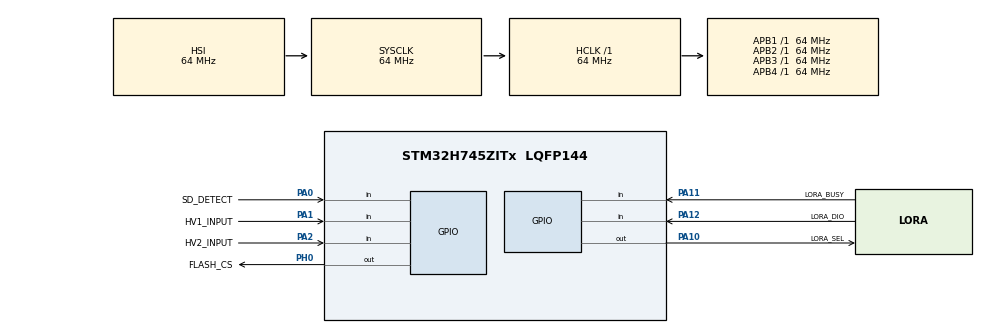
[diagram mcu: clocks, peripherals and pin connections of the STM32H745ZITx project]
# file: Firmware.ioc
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CORTEX_M7.default_mode_Activation=1
CortexM4.IPs=BDMA,CORTEX_M4\:I,DMA,FATFS_M4\:I,FREERTOS_M4\:I,GPIO,IWDG2\:I,MDMA,NVIC2\:I,OPENAMP_M4\:I,PDM2PCM_M4\:I,PWR,RCC,RESMGR_UTILITY,SYS_M4\:I,USB_DEVICE_M4\:I,USB_HOST_M4\:I,VREFBUF,WWDG2\:I,I2C1,DEBUG,SPI1
CortexM7.IPs=BDMA\:I,CORTEX_M7\:I,DMA\:I,FATFS_M7\:I,FREERTOS_M7\:I,GPIO\:I,IWDG1\:I,MDMA\:I,NVIC1\:I,OPENAMP_M7\:I,PDM2PCM_M7\:I,PWR\:I,RCC\:I,RESMGR_UTILITY\:I,SYS\:I,USB_DEVICE_M7\:I,USB_HOST_M7\:I,VREFBUF\:I,WWDG1\:I,I2C1\:I,DEBUG\:I,SPI1\:I
Mcu.Family=STM32H7
Mcu.Name=STM32H745ZITx
Mcu.Package=LQFP144
NVIC1.PriorityGroup=NVIC_PRIORITYGROUP_4
NVIC2.PriorityGroup=NVIC_PRIORITYGROUP_4
PA0.GPIO_Label=SD_DETECT
PA0.PinAttribute=Free
PA0.Signal=GPIO_Input
PA1.GPIO_Label=HV1_INPUT
PA1.PinAttribute=Free
PA1.Signal=GPIO_Input
PA10.GPIO_Label=LORA_SEL
PA10.PinAttribute=Free
PA10.Signal=GPIO_Output
PA11.GPIO_Label=LORA_BUSY
PA11.PinAttribute=Free
PA11.Signal=GPIO_Input
PA12.GPIO_Label=LORA_DIO
PA12.PinAttribute=Free
PA12.Signal=GPIO_Input
PA13\ (JTMS/SWDIO).PinAttribute=CortexM7
PA13\ (JTMS/SWDIO).Signal=DEBUG_JTMS-SWDIO
PA14\ (JTCK/SWCLK).PinAttribute=CortexM7
PA14\ (JTCK/SWCLK).Signal=DEBUG_JTCK-SWCLK
PA2.GPIO_Label=HV2_INPUT
PA2.PinAttribute=Free
PA2.Signal=GPIO_Input
PA5.Signal=SPI1_SCK
PA6.Signal=SPI1_MISO
PA7.Signal=SPI1_MOSI
PB13.Signal=USB_OTG_HS_VBUS
PB14.Signal=USB_OTG_HS_DM
PB15.Signal=USB_OTG_HS_DP
PB6.PinAttribute=CortexM7
PB6.Signal=I2C1_SCL
PB7.PinAttribute=CortexM7
PB7.Signal=I2C1_SDA
PC14-OSC32_IN\ (OSC32_IN).Mode=LSE-External-Oscillator
PC14-OSC32_IN\ (OSC32_IN).Signal=RCC_OSC32_IN
PC15-OSC32_OUT\ (OSC32_OUT).Mode=LSE-External-Oscillator
PC15-OSC32_OUT\ (OSC32_OUT).Signal=RCC_OSC32_OUT
PF10.Signal=QUADSPI_CLK
PF6.Signal=QUADSPI_BK1_IO3
PF7.Signal=QUADSPI_BK1_IO2
PF8.Signal=QUADSPI_BK1_IO0
PF9.Signal=QUADSPI_BK1_IO1
PH0-OSC_IN\ (PH0).GPIO_Label=FLASH_CS
PH0-OSC_IN\ (PH0).PinAttribute=Free
PH0-OSC_IN\ (PH0).Signal=GPIO_Output
ProjectManager.HeapSize=M4-0x200,M7-0x200
ProjectManager.StackSize=M4-0x400,M7-0x400
ProjectManager.TargetToolchain=STM32CubeIDE
RCC.ADCFreq_Value=129000000
RCC.APB1Freq_Value=64000000
RCC.APB2Freq_Value=64000000
RCC.APB3Freq_Value=64000000
RCC.APB4Freq_Value=64000000
RCC.CortexFreq_Value=64000000
RCC.HCLKFreq_Value=64000000
RCC.SYSCLKFreq_VALUE=64000000
RCC.USBFreq_Value=129000000
SYS.userName=SYS_M7
VP_SYS_M4_VS_Systick.Mode=SysTick
board=custom

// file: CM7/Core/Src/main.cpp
/* USER CODE BEGIN Header */
/**
 ******************************************************************************
 * @file           : main.c
 * @brief          : Main program body
 ******************************************************************************
 * @attention
 *
 * Copyright (c) 2024 STMicroelectronics.
 * All rights reserved.
 *
 * This software is licensed under terms that can be found in the LICENSE file
 * in the root directory of this software component.
 * If no LICENSE file comes with this software, it is provided AS-IS.
 *
 ******************************************************************************
 */
/* USER CODE END Header */
#include "main.h"

/* USER CODE BEGIN Includes */

#include "data.h"
#include "state_machine.h"

// Sensors

#include "sensors/accel_H3LIS100.h"
#include "sensors/accel_AIS3624.h"
#include "sensors/gyro_I3G4250.h"
#include "sensors/baro_MS5607.h"

/* USER CODE END Includes */

/* USER CODE BEGIN PD */

#ifndef HSEM_ID_0
#define HSEM_ID_0 (0U) /* HW semaphore 0*/
#endif

/* USER CODE END PD */

/* USER CODE BEGIN PV */

I2C_HandleTypeDef hi2c1;

Data data;
State_Machine state_machine(&data);

// Define sensors
Accel_H3LIS100 accel_h3lis100(&hi2c1, &data);
Accel_AIS3624 accel_ais3624(&hi2c1, &data);
Gyro_I3G4250 gyro_i3g4250(&hi2c1, &data);
Baro_MS5607 baro_ms5607(&hi2c1, &data);

/* USER CODE END PV */

void SystemClock_Config(void);
static void MPU_Config(void);
static void MX_GPIO_Init(void);

int main(void)
{

	/* USER CODE BEGIN Boot_Mode_Sequence_0 */
	int32_t timeout;
	/* USER CODE END Boot_Mode_Sequence_0 */

	/* MPU Configuration--------------------------------------------------------*/
	MPU_Config();

	/* USER CODE BEGIN Boot_Mode_Sequence_1 */
	/* Wait until CPU2 boots and enters in stop mode or timeout*/
	timeout = 0xFFFF;
	while ((__HAL_RCC_GET_FLAG(RCC_FLAG_D2CKRDY) != RESET) && (timeout-- > 0))
		;
	if (timeout < 0)
	{
		Error_Handler();
	}
	/* USER CODE END Boot_Mode_Sequence_1 */
	/* MCU Configuration--------------------------------------------------------*/

	/* Reset of all peripherals, Initializes the Flash interface and the Systick. */
	HAL_Init();

	/* Configure the system clock */
	SystemClock_Config();
	/* USER CODE BEGIN Boot_Mode_Sequence_2 */
	/* When system initialization is finished, Cortex-M7 will release Cortex-M4 by means of
	HSEM notification */
	/*HW semaphore Clock enable*/
	__HAL_RCC_HSEM_CLK_ENABLE();
	/*Take HSEM */
	HAL_HSEM_FastTake(HSEM_ID_0);
	/*Release HSEM in order to notify the CPU2(CM4)*/
	HAL_HSEM_Release(HSEM_ID_0, 0);
	/* wait until CPU2 wakes up from stop mode */
	timeout = 0xFFFF;
	while ((__HAL_RCC_GET_FLAG(RCC_FLAG_D2CKRDY) == RESET) && (timeout-- > 0))
		;
	if (timeout < 0)
	{
		Error_Handler();
	}
	/* USER CODE END Boot_Mode_Sequence_2 */

	/* Initialize all configured peripherals */
	MX_GPIO_Init();
	/* USER CODE BEGIN 2 */

	// Initialize sensors
	state_machine.update();

	if (!accel_h3lis100.begin()) {
		while (1);
	}

	if (!accel_ais3624.begin()) {
		while (1);
	}

	if (!gyro_i3g4250.begin()) {
		while (1);
	}

	if (!baro_ms5607.begin()) {
		while (1);
	}

	/* USER CODE END 2 */

	/* Infinite loop */
	while (1)
	{

	}
}

void SystemClock_Config(void)
{
	RCC_OscInitTypeDef RCC_OscInitStruct = {0};
	RCC_ClkInitTypeDef RCC_ClkInitStruct = {0};

	/** Supply configuration update enable
	 */
	HAL_PWREx_ConfigSupply(PWR_DIRECT_SMPS_SUPPLY);

	/** Configure the main internal regulator output voltage
	 */
	__HAL_PWR_VOLTAGESCALING_CONFIG(PWR_REGULATOR_VOLTAGE_SCALE3);

	while (!__HAL_PWR_GET_FLAG(PWR_FLAG_VOSRDY))
	{
	}

	/** Initializes the RCC Oscillators according to the specified parameters
	 * in the RCC_OscInitTypeDef structure.
	 */
	RCC_OscInitStruct.OscillatorType = RCC_OSCILLATORTYPE_HSI;
	RCC_OscInitStruct.HSIState = RCC_HSI_DIV1;
	RCC_OscInitStruct.HSICalibrationValue = RCC_HSICALIBRATION_DEFAULT;
	RCC_OscInitStruct.PLL.PLLState = RCC_PLL_NONE;
	if (HAL_RCC_OscConfig(&RCC_OscInitStruct) != HAL_OK)
	{
		Error_Handler();
	}

	/** Initializes the CPU, AHB and APB buses clocks
	 */
	RCC_ClkInitStruct.ClockType = RCC_CLOCKTYPE_HCLK | RCC_CLOCKTYPE_SYSCLK | RCC_CLOCKTYPE_PCLK1 | RCC_CLOCKTYPE_PCLK2 | RCC_CLOCKTYPE_D3PCLK1 | RCC_CLOCKTYPE_D1PCLK1;
	RCC_ClkInitStruct.SYSCLKSource = RCC_SYSCLKSOURCE_HSI;
	RCC_ClkInitStruct.SYSCLKDivider = RCC_SYSCLK_DIV1;
	RCC_ClkInitStruct.AHBCLKDivider = RCC_HCLK_DIV1;
	RCC_ClkInitStruct.APB3CLKDivider = RCC_APB3_DIV1;
	RCC_ClkInitStruct.APB1CLKDivider = RCC_APB1_DIV1;
	RCC_ClkInitStruct.APB2CLKDivider = RCC_APB2_DIV1;
	RCC_ClkInitStruct.APB4CLKDivider = RCC_APB4_DIV1;

	if (HAL_RCC_ClockConfig(&RCC_ClkInitStruct, FLASH_LATENCY_1) != HAL_OK)
	{
		Error_Handler();
	}
}

static void MX_GPIO_Init(void)
{
	GPIO_InitTypeDef GPIO_InitStruct = {0};

	/* GPIO Ports Clock Enable */
	__HAL_RCC_GPIOA_CLK_ENABLE();
	__HAL_RCC_GPIOB_CLK_ENABLE();

	/*Configure GPIO pins : PB6 PB7 */
	GPIO_InitStruct.Pin = GPIO_PIN_6 | GPIO_PIN_7;
	GPIO_InitStruct.Mode = GPIO_MODE_AF_OD;
	GPIO_InitStruct.Pull = GPIO_NOPULL;
	GPIO_InitStruct.Speed = GPIO_SPEED_FREQ_LOW;
	GPIO_InitStruct.Alternate = GPIO_AF4_I2C1;
	HAL_GPIO_Init(GPIOB, &GPIO_InitStruct);

}

/* MPU Configuration */

void MPU_Config(void)
{
	MPU_Region_InitTypeDef MPU_InitStruct = {0};

	/* Disables the MPU */
	HAL_MPU_Disable();

	/** Initializes and configures the Region and the memory to be protected
	 */
	MPU_InitStruct.Enable = MPU_REGION_ENABLE;
	MPU_InitStruct.Number = MPU_REGION_NUMBER0;
	MPU_InitStruct.BaseAddress = 0x0;
	MPU_InitStruct.Size = MPU_REGION_SIZE_4GB;
	MPU_InitStruct.SubRegionDisable = 0x87;
	MPU_InitStruct.TypeExtField = MPU_TEX_LEVEL0;
	MPU_InitStruct.AccessPermission = MPU_REGION_NO_ACCESS;
	MPU_InitStruct.DisableExec = MPU_INSTRUCTION_ACCESS_DISABLE;
	MPU_InitStruct.IsShareable = MPU_ACCESS_SHAREABLE;
	MPU_InitStruct.IsCacheable = MPU_ACCESS_NOT_CACHEABLE;
	MPU_InitStruct.IsBufferable = MPU_ACCESS_NOT_BUFFERABLE;

	HAL_MPU_ConfigRegion(&MPU_InitStruct);
	/* Enables the MPU */
	HAL_MPU_Enable(MPU_PRIVILEGED_DEFAULT);
}

void Error_Handler(void)
{
	__disable_irq();
	while (1)
	{
	}
}
